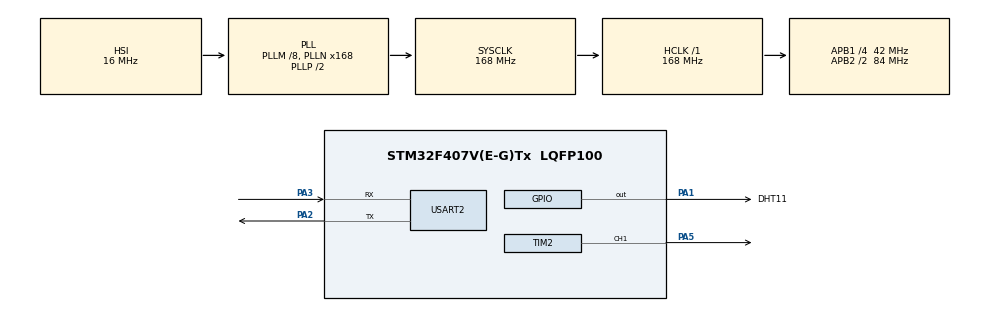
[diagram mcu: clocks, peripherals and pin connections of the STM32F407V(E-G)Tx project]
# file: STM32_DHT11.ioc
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Mcu.Family=STM32F4
Mcu.Name=STM32F407V(E-G)Tx
Mcu.Package=LQFP100
NVIC.PriorityGroup=NVIC_PRIORITYGROUP_4
PA1.GPIO_Label=DHT11
PA1.GPIO_ModeDefaultOutputPP=GPIO_MODE_OUTPUT_OD
PA1.GPIO_PuPd=GPIO_PULLUP
PA1.GPIO_Speed=GPIO_SPEED_FREQ_HIGH
PA1.PinState=GPIO_PIN_SET
PA1.Signal=GPIO_Output
PA2.Mode=Asynchronous
PA2.Signal=USART2_TX
PA3.Mode=Asynchronous
PA3.Signal=USART2_RX
PA5.GPIO_Speed=GPIO_SPEED_FREQ_VERY_HIGH
PA5.Signal=S_TIM2_CH1_ETR
ProjectManager.HeapSize=0x200
ProjectManager.StackSize=0x400
ProjectManager.TargetToolchain=CMake
RCC.48MHZClocksFreq_Value=84000000
RCC.AHBFreq_Value=168000000
RCC.APB1CLKDivider=RCC_HCLK_DIV4
RCC.APB1Freq_Value=42000000
RCC.APB1TimFreq_Value=84000000
RCC.APB2CLKDivider=RCC_HCLK_DIV2
RCC.APB2Freq_Value=84000000
RCC.APB2TimFreq_Value=168000000
RCC.CortexFreq_Value=168000000
RCC.HCLKFreq_Value=168000000
RCC.HSE_VALUE=25000000
RCC.HSI_VALUE=16000000
RCC.LSE_VALUE=32768
RCC.PLLM=8
RCC.PLLN=168
RCC.SYSCLKFreq_VALUE=168000000
RCC.SYSCLKSource=RCC_SYSCLKSOURCE_PLLCLK
RCC.VCOOutputFreq_Value=336000000
SH.S_TIM2_CH1_ETR.0=TIM2_CH1,PWM Generation1 CH1
TIM2.AutoReloadPreload=TIM_AUTORELOAD_PRELOAD_ENABLE
TIM2.Channel-PWM\ Generation1\ CH1=TIM_CHANNEL_1
TIM2.Period=3359
USART2.VirtualMode=VM_ASYNC
VP_TIM2_VS_ClockSourceINT.Mode=Internal
board=custom

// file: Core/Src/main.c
/* USER CODE BEGIN Header */
/**
  ******************************************************************************
  * @file           : main.c
  * @brief          : Main program body
  ******************************************************************************
  * @attention
  *
  * Copyright (c) 2026 STMicroelectronics.
  * All rights reserved.
  *
  * This software is licensed under terms that can be found in the LICENSE file
  * in the root directory of this software component.
  * If no LICENSE file comes with this software, it is provided AS-IS.
  *
  ******************************************************************************
  */
/* USER CODE END Header */
#include "main.h"

/* USER CODE BEGIN Includes */
#include "dht11.h"
#include "fan_controller.h"
#include <stdio.h>
#include <string.h>
/* USER CODE END Includes */

TIM_HandleTypeDef htim2;

UART_HandleTypeDef huart2;

/* USER CODE BEGIN PV */
DHT11_Data_t dhtData;
char uart_buf[160];

FanController_t fan;
/* USER CODE END PV */

void SystemClock_Config(void);
static void MX_GPIO_Init(void);
static void MX_USART2_UART_Init(void);
static void MX_TIM2_Init(void);

/* USER CODE BEGIN 0 */
const char* Fan_GetIntensityText(uint8_t duty) {
  if (duty <= 20) return "Cicho / Bieg jalowy";
  if (duty < 45)  return "Lekki nawiew";
  if (duty < 70)  return "Sredni nawiew";
  if (duty < 90)  return "Mocny nawiew";
  return "Maksymalna wydajnosc";
}
/* USER CODE END 0 */

int main(void)
{

  /* MCU Configuration--------------------------------------------------------*/

  /* Reset of all peripherals, Initializes the Flash interface and the Systick. */
  HAL_Init();

  /* Configure the system clock */
  SystemClock_Config();

  /* Initialize all configured peripherals */
  MX_GPIO_Init();
  MX_USART2_UART_Init();
  MX_TIM2_Init();
  /* USER CODE BEGIN 2 */
DHT11_Init();
Fan_Init(&fan, &htim2, TIM_CHANNEL_1, 3359);
Fan_SetPID(&fan, 10.0f, 0.15f, 2.0f, 22.0f);
Fan_SetOutputLimits(&fan, 20.0f, 100.0f);

  /* USER CODE END 2 */

  /* Infinite loop */
  /* USER CODE BEGIN WHILE */

  while (1)
  {
    uint8_t status = DHT11_Read(&dhtData);

    if (status == 0) {
      Fan_PID_Update(&fan, (float)dhtData.temperature, 2.0f);
      uint8_t duty = Fan_GetDuty(&fan);
      const char* intensity_text = Fan_GetIntensityText(duty);

      char bar[11];
      int bars_count = (duty + 5) / 10;
      if (bars_count > 10) bars_count = 10;

      for (int i = 0; i < 10; i++) {
        bar[i] = (i < bars_count) ? '=' : '.';
      }
      bar[10] = '\0';
      int sp_int = (int)fan.setpoint;
      int sp_dec = (int)((fan.setpoint - (float)sp_int) * 10.0f);
      if (sp_dec < 0) sp_dec = -sp_dec;

      int len = snprintf(uart_buf, sizeof(uart_buf),
      "Temp: %2d C (Zadana: %d.%d C) | Wilg: %2d %% | PWM: %3u %% [%s] -> %s\r\n",
            dhtData.temperature,
            sp_int, sp_dec,
            dhtData.humidity,
            duty,
            bar,
            intensity_text);
      HAL_UART_Transmit(&huart2, (uint8_t*)uart_buf, len, 50);
    }
    else if (status == 1) {
      HAL_UART_Transmit(&huart2, (uint8_t*)"Blad: Brak odpowiedzi z DHT11\r\n",31, 50);
    }
    else if (status == 2) {
      HAL_UART_Transmit(&huart2, (uint8_t*)"Blad: Zla suma kontrolna\r\n",26, 50);
    }
    HAL_Delay(2000);
    /* USER CODE END WHILE */

  }
}

void SystemClock_Config(void)
{
  RCC_OscInitTypeDef RCC_OscInitStruct = {0};
  RCC_ClkInitTypeDef RCC_ClkInitStruct = {0};

  /** Configure the main internal regulator output voltage
  */
  __HAL_RCC_PWR_CLK_ENABLE();
  __HAL_PWR_VOLTAGESCALING_CONFIG(PWR_REGULATOR_VOLTAGE_SCALE1);

  /** Initializes the RCC Oscillators according to the specified parameters
  * in the RCC_OscInitTypeDef structure.
  */
  RCC_OscInitStruct.OscillatorType = RCC_OSCILLATORTYPE_HSI;
  RCC_OscInitStruct.HSIState = RCC_HSI_ON;
  RCC_OscInitStruct.HSICalibrationValue = RCC_HSICALIBRATION_DEFAULT;
  RCC_OscInitStruct.PLL.PLLState = RCC_PLL_ON;
  RCC_OscInitStruct.PLL.PLLSource = RCC_PLLSOURCE_HSI;
  RCC_OscInitStruct.PLL.PLLM = 8;
  RCC_OscInitStruct.PLL.PLLN = 168;
  RCC_OscInitStruct.PLL.PLLP = RCC_PLLP_DIV2;
  RCC_OscInitStruct.PLL.PLLQ = 4;
  if (HAL_RCC_OscConfig(&RCC_OscInitStruct) != HAL_OK)
  {
    Error_Handler();
  }

  /** Initializes the CPU, AHB and APB buses clocks
  */
  RCC_ClkInitStruct.ClockType = RCC_CLOCKTYPE_HCLK|RCC_CLOCKTYPE_SYSCLK
                              |RCC_CLOCKTYPE_PCLK1|RCC_CLOCKTYPE_PCLK2;
  RCC_ClkInitStruct.SYSCLKSource = RCC_SYSCLKSOURCE_PLLCLK;
  RCC_ClkInitStruct.AHBCLKDivider = RCC_SYSCLK_DIV1;
  RCC_ClkInitStruct.APB1CLKDivider = RCC_HCLK_DIV4;
  RCC_ClkInitStruct.APB2CLKDivider = RCC_HCLK_DIV2;

  if (HAL_RCC_ClockConfig(&RCC_ClkInitStruct, FLASH_LATENCY_5) != HAL_OK)
  {
    Error_Handler();
  }
}

static void MX_TIM2_Init(void)
{

  TIM_ClockConfigTypeDef sClockSourceConfig = {0};
  TIM_MasterConfigTypeDef sMasterConfig = {0};
  TIM_OC_InitTypeDef sConfigOC = {0};

  htim2.Instance = TIM2;
  htim2.Init.Prescaler = 0;
  htim2.Init.CounterMode = TIM_COUNTERMODE_UP;
  htim2.Init.Period = 3359;
  htim2.Init.ClockDivision = TIM_CLOCKDIVISION_DIV1;
  htim2.Init.AutoReloadPreload = TIM_AUTORELOAD_PRELOAD_ENABLE;
  if (HAL_TIM_Base_Init(&htim2) != HAL_OK)
  {
    Error_Handler();
  }
  sClockSourceConfig.ClockSource = TIM_CLOCKSOURCE_INTERNAL;
  if (HAL_TIM_ConfigClockSource(&htim2, &sClockSourceConfig) != HAL_OK)
  {
    Error_Handler();
  }
  if (HAL_TIM_PWM_Init(&htim2) != HAL_OK)
  {
    Error_Handler();
  }
  sMasterConfig.MasterOutputTrigger = TIM_TRGO_RESET;
  sMasterConfig.MasterSlaveMode = TIM_MASTERSLAVEMODE_DISABLE;
  if (HAL_TIMEx_MasterConfigSynchronization(&htim2, &sMasterConfig) != HAL_OK)
  {
    Error_Handler();
  }
  sConfigOC.OCMode = TIM_OCMODE_PWM1;
  sConfigOC.Pulse = 0;
  sConfigOC.OCPolarity = TIM_OCPOLARITY_HIGH;
  sConfigOC.OCFastMode = TIM_OCFAST_DISABLE;
  if (HAL_TIM_PWM_ConfigChannel(&htim2, &sConfigOC, TIM_CHANNEL_1) != HAL_OK)
  {
    Error_Handler();
  }
  HAL_TIM_MspPostInit(&htim2);

}

static void MX_USART2_UART_Init(void)
{

  huart2.Instance = USART2;
  huart2.Init.BaudRate = 115200;
  huart2.Init.WordLength = UART_WORDLENGTH_8B;
  huart2.Init.StopBits = UART_STOPBITS_1;
  huart2.Init.Parity = UART_PARITY_NONE;
  huart2.Init.Mode = UART_MODE_TX_RX;
  huart2.Init.HwFlowCtl = UART_HWCONTROL_NONE;
  huart2.Init.OverSampling = UART_OVERSAMPLING_16;
  if (HAL_UART_Init(&huart2) != HAL_OK)
  {
    Error_Handler();
  }

}

static void MX_GPIO_Init(void)
{
  GPIO_InitTypeDef GPIO_InitStruct = {0};

  /* GPIO Ports Clock Enable */
  __HAL_RCC_GPIOA_CLK_ENABLE();

  /*Configure GPIO pin Output Level */
  HAL_GPIO_WritePin(DHT11_GPIO_Port, DHT11_Pin, GPIO_PIN_SET);

  /*Configure GPIO pin : DHT11_Pin */
  GPIO_InitStruct.Pin = DHT11_Pin;
  GPIO_InitStruct.Mode = GPIO_MODE_OUTPUT_OD;
  GPIO_InitStruct.Pull = GPIO_PULLUP;
  GPIO_InitStruct.Speed = GPIO_SPEED_FREQ_HIGH;
  HAL_GPIO_Init(DHT11_GPIO_Port, &GPIO_InitStruct);

}

void Error_Handler(void)
{
  __disable_irq();
  while (1)
  {
  }
}
